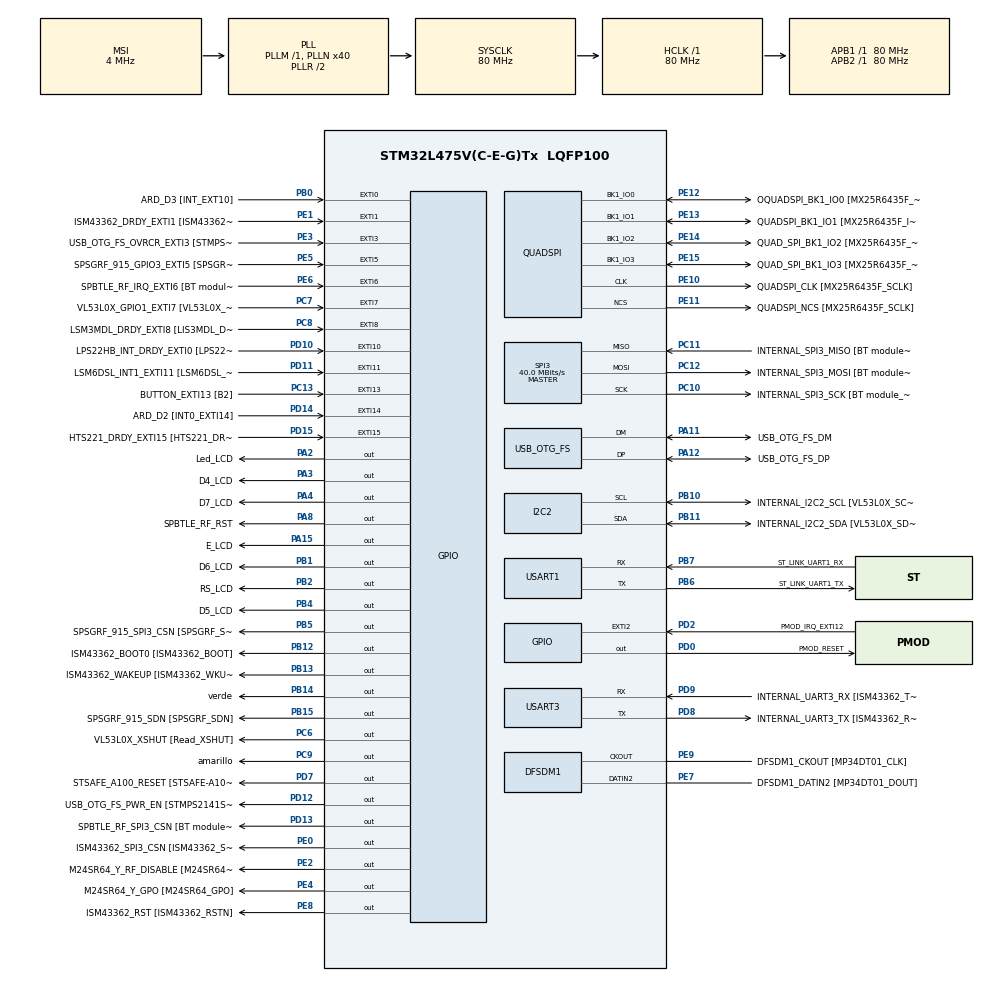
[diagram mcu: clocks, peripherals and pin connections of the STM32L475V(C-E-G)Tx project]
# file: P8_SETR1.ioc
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FREERTOS.BinarySemaphores01=myLCD,Dynamic,NULL,Available
FREERTOS.Tasks01=defaultTask,24,128,StartDefaultTask,Default,NULL,Dynamic,NULL,NULL;led_verde,24,128,Start_led_verde,Default,NULL,Dynamic,NULL,NULL;led_amarillo,24,128,Start_led_amarillo,Default,NULL,Dynamic,NULL,NULL;lcd_A,24,128,Start_lcd_A,Default,NULL,Dynamic,NULL,NULL;lcd_B,24,128,Start_lcd_B,Default,NULL,Dynamic,NULL,NULL
FREERTOS.configTOTAL_HEAP_SIZE=4000
Mcu.Family=STM32L4
Mcu.Name=STM32L475V(C-E-G)Tx
Mcu.Package=LQFP100
NVIC.EXTI15_10_IRQn=true\:5\:0\:false\:false\:true\:true\:true\:true\:true
NVIC.EXTI9_5_IRQn=true\:5\:0\:false\:false\:true\:true\:true\:true\:true
NVIC.PriorityGroup=NVIC_PRIORITYGROUP_4
PA0.GPIO_Label=ARD_D1 [UART4_TX]
PA0.Signal=UART4_TX
PA1.GPIO_Label=ARD_D0 [UART4_RX]
PA1.Signal=UART4_RX
PA10.GPIO_Label=USB_OTG_FS_ID
PA10.Signal=USB_OTG_FS_ID
PA11.GPIO_Label=USB_OTG_FS_DM
PA11.Mode=Device_Only
PA11.Signal=USB_OTG_FS_DM
PA12.GPIO_Label=USB_OTG_FS_DP
PA12.Mode=Device_Only
PA12.Signal=USB_OTG_FS_DP
PA13\ (JTMS-SWDIO).GPIO_Label=SYS_JTMS_SWDIO
PA13\ (JTMS-SWDIO).Mode=Serial_Wire
PA13\ (JTMS-SWDIO).Signal=SYS_JTMS-SWDIO
PA14\ (JTCK-SWCLK).GPIO_Label=SYS_JTCK_SWCLK
PA14\ (JTCK-SWCLK).Mode=Serial_Wire
PA14\ (JTCK-SWCLK).Signal=SYS_JTCK-SWCLK
PA15\ (JTDI).GPIO_Label=E_LCD
PA15\ (JTDI).Signal=GPIO_Output
PA2.GPIO_Label=Led_LCD
PA2.Signal=GPIO_Output
PA3.GPIO_Label=D4_LCD
PA3.Signal=GPIO_Output
PA4.GPIO_Label=D7_LCD
PA4.Signal=GPIO_Output
PA5.GPIO_Label=ARD_D13 [SPI1_SCK]
PA5.Signal=SPI1_SCK
PA6.GPIO_Label=ARD_D12 [SPI1_MISO]
PA6.Signal=SPI1_MISO
PA7.GPIO_Label=ARD_D11 [SPI1_MOSI]
PA7.Signal=SPI1_MOSI
PA8.GPIO_Label=SPBTLE_RF_RST
PA8.Signal=GPIO_Output
PA9.GPIO_Label=USB_OTG_FS_VBUS [STMPS2141STR_OUT]
PA9.Signal=USB_OTG_FS_VBUS
PB0.GPIO_Label=ARD_D3 [INT_EXT10]
PB0.Signal=GPXTI0
PB1.GPIO_Label=D6_LCD
PB1.Signal=GPIO_Output
PB10.GPIO_Label=INTERNAL_I2C2_SCL [VL53L0X_SCL]
PB10.GPIO_Pu=GPIO_PULLUP
PB10.Mode=I2C
PB10.Signal=I2C2_SCL
PB11.GPIO_Label=INTERNAL_I2C2_SDA [VL53L0X_SDA]
PB11.GPIO_Pu=GPIO_PULLUP
PB11.Mode=I2C
PB11.Signal=I2C2_SDA
PB12.GPIO_Label=ISM43362_BOOT0 [ISM43362_BOOT]
PB12.Signal=GPIO_Output
PB13.GPIO_Label=ISM43362_WAKEUP [ISM43362_WKUP]
PB13.Signal=GPIO_Output
PB14.GPIO_Label=verde
PB14.Signal=GPIO_Output
PB15.GPIO_Label=SPSGRF_915_SDN [SPSGRF_SDN]
PB15.Signal=GPIO_Output
PB2.GPIO_Label=RS_LCD
PB2.Signal=GPIO_Output
PB3\ (JTDO-TRACESWO).GPIO_Label=SYS_JTD0_SWO
PB3\ (JTDO-TRACESWO).Signal=SYS_JTDO-SWO
PB4\ (NJTRST).GPIO_Label=D5_LCD
PB4\ (NJTRST).Signal=GPIO_Output
PB5.GPIO_Label=SPSGRF_915_SPI3_CSN [SPSGRF_SPI_CS]
PB5.PinState=GPIO_PIN_SET
PB5.Signal=GPIO_Output
PB6.GPIO_Label=ST_LINK_UART1_TX
PB6.Mode=Asynchronous
PB6.Signal=USART1_TX
PB7.GPIO_Label=ST_LINK_UART1_RX
PB7.Mode=Asynchronous
PB7.Signal=USART1_RX
PB8.GPIO_Label=ARD_D15 [I2C1_SCL]
PB8.Signal=I2C1_SCL
PB9.GPIO_Label=ARD_D14 [I2C1_SDA]
PB9.Signal=I2C1_SDA
PC0.GPIO_Label=ARD_A5 [ADC]
PC0.Signal=ADCx_IN1
PC1.GPIO_Label=ARD_A4 [ADC]
PC1.Signal=ADCx_IN2
PC10.GPIO_Label=INTERNAL_SPI3_SCK [BT module_SPI_SCLK] [ISM43362_SCK]
PC10.Mode=Full_Duplex_Master
PC10.Signal=SPI3_SCK
PC11.GPIO_Label=INTERNAL_SPI3_MISO [BT module_SPI_MISO] [ISM43362_MISO]
PC11.Mode=Full_Duplex_Master
PC11.Signal=SPI3_MISO
PC12.GPIO_Label=INTERNAL_SPI3_MOSI [BT module_SPI_MOSI] [ISM43362_MOSI]
PC12.Mode=Full_Duplex_Master
PC12.Signal=SPI3_MOSI
PC13.GPIO_Label=BUTTON_EXTI13 [B2]
PC13.GPIO_ModeDefaultEXTI=GPIO_MODE_IT_FALLING
PC13.Signal=GPXTI13
PC14-OSC32_IN\ (PC14).Mode=LSE-External-Oscillator
PC14-OSC32_IN\ (PC14).Signal=RCC_OSC32_IN
PC15-OSC32_OUT\ (PC15).Mode=LSE-External-Oscillator
PC15-OSC32_OUT\ (PC15).Signal=RCC_OSC32_OUT
PC2.GPIO_Label=ARD_A3 [ADC]
PC2.Signal=ADCx_IN3
PC3.GPIO_Label=ARD_A2 [ADC]
PC3.Signal=ADCx_IN4
PC4.GPIO_Label=ARD_A1 [ADC]
PC4.Signal=ADCx_IN13
PC5.GPIO_Label=ARD_A0 [ADC]
PC5.Signal=ADCx_IN14
PC6.GPIO_Label=VL53L0X_XSHUT [Read_XSHUT]
PC6.Signal=GPIO_Output
PC7.GPIO_Label=VL53L0X_GPIO1_EXTI7 [VL53L0X_GPIO1]
PC7.Signal=GPXTI7
PC8.GPIO_Label=LSM3MDL_DRDY_EXTI8 [LIS3MDL_DRDY]
PC8.Signal=GPXTI8
PC9.GPIO_Label=amarillo
PC9.Signal=GPIO_Output
PD0.GPIO_Label=PMOD_RESET
PD0.Signal=GPIO_Output
PD1.GPIO_Label=PMOD_SPI2_SCK
PD1.Signal=SPI2_SCK
PD10.GPIO_Label=LPS22HB_INT_DRDY_EXTI0 [LPS22HB_INT_DRDY] 
PD10.Signal=GPXTI10
PD11.GPIO_Label=LSM6DSL_INT1_EXTI11 [LSM6DSL_INT1]
PD11.Signal=GPXTI11
PD12.GPIO_Label=USB_OTG_FS_PWR_EN [STMPS2141STR_EN]
PD12.Signal=GPIO_Output
PD13.GPIO_Label=SPBTLE_RF_SPI3_CSN [BT module_SPI_CS]
PD13.PinState=GPIO_PIN_SET
PD13.Signal=GPIO_Output
PD14.GPIO_Label=ARD_D2 [INT0_EXTI14]
PD14.Signal=GPXTI14
PD15.GPIO_Label=HTS221_DRDY_EXTI15 [HTS221_DRDY]
PD15.Signal=GPXTI15
PD2.GPIO_Label=PMOD_IRQ_EXTI12
PD2.Signal=GPXTI2
PD3.GPIO_Label=PMOD_UART2_CTS
PD3.Signal=USART2_CTS
PD4.GPIO_Label=PMOD_UART2_RTS
PD4.Signal=USART2_RTS
PD5.GPIO_Label=PMOD_UART2_TX
PD5.Signal=USART2_TX
PD6.GPIO_Label=PMOD_UART2_RX
PD6.Signal=USART2_RX
PD7.GPIO_Label=STSAFE_A100_RESET [STSAFE-A100_RESET]
PD7.Signal=GPIO_Output
PD8.GPIO_Label=INTERNAL_UART3_TX [ISM43362_RX]
PD8.Mode=Asynchronous
PD8.Signal=USART3_TX
PD9.GPIO_Label=INTERNAL_UART3_RX [ISM43362_TX]
PD9.Mode=Asynchronous
PD9.Signal=USART3_RX
PE0.GPIO_Label=ISM43362_SPI3_CSN [ISM43362_SSN]
PE0.PinState=GPIO_PIN_SET
PE0.Signal=GPIO_Output
PE1.GPIO_Label=ISM43362_DRDY_EXTI1 [ISM43362_DATARDY]
PE1.Signal=GPXTI1
PE10.GPIO_Label=QUADSPI_CLK [MX25R6435F_SCLK]
PE10.Mode=Single Bank
PE10.Signal=QUADSPI_CLK
PE11.GPIO_Label=QUADSPI_NCS [MX25R6435F_SCLK]
PE11.Mode=Single Bank
PE11.Signal=QUADSPI_NCS
PE12.GPIO_Label=OQUADSPI_BK1_IO0 [MX25R6435F_IO0]
PE12.Mode=Single Bank
PE12.Signal=QUADSPI_BK1_IO0
PE13.GPIO_Label=QUADSPI_BK1_IO1 [MX25R6435F_IO1]
PE13.Mode=Single Bank
PE13.Signal=QUADSPI_BK1_IO1
PE14.GPIO_Label=QUAD_SPI_BK1_IO2 [MX25R6435F_IO2]
PE14.Mode=Single Bank
PE14.Signal=QUADSPI_BK1_IO2
PE15.GPIO_Label=QUAD_SPI_BK1_IO3 [MX25R6435F_IO3]
PE15.Mode=Single Bank
PE15.Signal=QUADSPI_BK1_IO3
PE2.GPIO_Label=M24SR64_Y_RF_DISABLE [M24SR64_RFDIS]
PE2.Signal=GPIO_Output
PE3.GPIO_Label=USB_OTG_FS_OVRCR_EXTI3 [STMPS2141STR_FAULT]
PE3.Signal=GPXTI3
PE4.GPIO_Label=M24SR64_Y_GPO [M24SR64_GPO]
PE4.Signal=GPIO_Output
PE5.GPIO_Label=SPSGRF_915_GPIO3_EXTI5 [SPSGRF_GPIO_3]
PE5.Signal=GPXTI5
PE6.GPIO_Label=SPBTLE_RF_IRQ_EXTI6 [BT module_SPI_IRQ]
PE6.Signal=GPXTI6
PE7.GPIO_Label=DFSDM1_DATIN2 [MP34DT01_DOUT]
PE7.Signal=S_DATAIN2DFSDM1
PE8.GPIO_Label=ISM43362_RST [ISM43362_RSTN]
PE8.Signal=GPIO_Output
PE9.GPIO_Label=DFSDM1_CKOUT [MP34DT01_CLK]
PE9.Signal=S_CKOUTDFSDM1
ProjectManager.HeapSize=0x200
ProjectManager.StackSize=0x400
ProjectManager.TargetToolchain=STM32CubeIDE
QUADSPI.ClockPrescaler=2
QUADSPI.FifoThreshold=4
QUADSPI.FlashSize=23
QUADSPI.SampleShifting=QSPI_SAMPLE_SHIFTING_HALFCYCLE
RCC.ADCFreq_Value=48000000
RCC.AHBFreq_Value=80000000
RCC.APB1Freq_Value=80000000
RCC.APB1TimFreq_Value=80000000
RCC.APB2Freq_Value=80000000
RCC.APB2TimFreq_Value=80000000
RCC.CortexFreq_Value=80000000
RCC.HCLKFreq_Value=80000000
RCC.HSE_VALUE=8000000
RCC.HSI_VALUE=16000000
RCC.MSI_VALUE=4000000
RCC.PLLN=40
RCC.PLLSAI1N=24
RCC.SYSCLKFreq_VALUE=80000000
RCC.SYSCLKSource=RCC_SYSCLKSOURCE_PLLCLK
RCC.USBFreq_Value=48000000
RCC.VCOOutputFreq_Value=160000000
SH.ADCx_IN1.0=ADC1_IN1
SH.ADCx_IN13.0=ADC1_IN13
SH.ADCx_IN14.0=ADC1_IN14
SH.ADCx_IN2.0=ADC1_IN2
SH.ADCx_IN3.0=ADC1_IN3
SH.ADCx_IN4.0=ADC1_IN4
SH.S_CKOUTDFSDM1.0=DFSDM1_CKOUT,CKOUT
SH.S_CKOUTDFSDM1.1=DFSDM1_CKOUT,PDM_SPI_Input_from_ch12_and_Internal_Clock
SH.S_DATAIN2DFSDM1.0=DFSDM1_DATIN2,PDM_SPI_Input_from_ch12_and_Internal_Clock
SPI3.CalculateBaudRate=40.0 MBits/s
SPI3.Direction=SPI_DIRECTION_2LINES
SPI3.Mode=SPI_MODE_MASTER
SPI3.VirtualType=VM_MASTER
USART1.VirtualMode-Asynchronous=VM_ASYNC
USART3.VirtualMode-Asynchronous=VM_ASYNC
USB_OTG_FS.VirtualMode=Device_Only
VP_FREERTOS_VS_CMSIS_V2.Mode=CMSIS_V2
board=B-L475E-IOT01A1

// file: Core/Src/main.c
/* USER CODE BEGIN Header */
/**
  ******************************************************************************
  * @file           : main.c
  * @brief          : Main program body
  ******************************************************************************
  * @attention
  *
  * Copyright (c) 2025 STMicroelectronics.
  * All rights reserved.
  *
  * This software is licensed under terms that can be found in the LICENSE file
  * in the root directory of this software component.
  * If no LICENSE file comes with this software, it is provided AS-IS.
  *
  ******************************************************************************
  */
/* USER CODE END Header */
#include "main.h"
#include "cmsis_os.h"

/* USER CODE BEGIN Includes */
#include "hd44780.h"
/* USER CODE END Includes */

DFSDM_Channel_HandleTypeDef hdfsdm1_channel1;

I2C_HandleTypeDef hi2c2;

QSPI_HandleTypeDef hqspi;

SPI_HandleTypeDef hspi3;

UART_HandleTypeDef huart1;
UART_HandleTypeDef huart3;

PCD_HandleTypeDef hpcd_USB_OTG_FS;

/* Definitions for defaultTask */
osThreadId_t defaultTaskHandle;
const osThreadAttr_t defaultTask_attributes = {
  .name = "defaultTask",
  .stack_size = 128 * 4,
  .priority = (osPriority_t) osPriorityNormal,
};
/* Definitions for led_verde */
osThreadId_t led_verdeHandle;
const osThreadAttr_t led_verde_attributes = {
  .name = "led_verde",
  .stack_size = 128 * 4,
  .priority = (osPriority_t) osPriorityNormal,
};
/* Definitions for led_amarillo */
osThreadId_t led_amarilloHandle;
const osThreadAttr_t led_amarillo_attributes = {
  .name = "led_amarillo",
  .stack_size = 128 * 4,
  .priority = (osPriority_t) osPriorityNormal,
};
/* Definitions for lcd_A */
osThreadId_t lcd_AHandle;
const osThreadAttr_t lcd_A_attributes = {
  .name = "lcd_A",
  .stack_size = 128 * 4,
  .priority = (osPriority_t) osPriorityNormal,
};
/* Definitions for lcd_B */
osThreadId_t lcd_BHandle;
const osThreadAttr_t lcd_B_attributes = {
  .name = "lcd_B",
  .stack_size = 128 * 4,
  .priority = (osPriority_t) osPriorityNormal,
};
/* Definitions for myLCD */
osSemaphoreId_t myLCDHandle;
const osSemaphoreAttr_t myLCD_attributes = {
  .name = "myLCD"
};

void SystemClock_Config(void);
static void MX_GPIO_Init(void);
static void MX_DFSDM1_Init(void);
static void MX_I2C2_Init(void);
static void MX_QUADSPI_Init(void);
static void MX_SPI3_Init(void);
static void MX_USART1_UART_Init(void);
static void MX_USART3_UART_Init(void);
static void MX_USB_OTG_FS_PCD_Init(void);
void StartDefaultTask(void *argument);
void Start_led_verde(void *argument);
void Start_led_amarillo(void *argument);
void Start_lcd_A(void *argument);
void Start_lcd_B(void *argument);

int main(void)
{

  /* MCU Configuration--------------------------------------------------------*/

  /* Reset of all peripherals, Initializes the Flash interface and the Systick. */
  HAL_Init();

  /* Configure the system clock */
  SystemClock_Config();

  /* Initialize all configured peripherals */
  MX_GPIO_Init();
  MX_DFSDM1_Init();
  MX_I2C2_Init();
  MX_QUADSPI_Init();
  MX_SPI3_Init();
  MX_USART1_UART_Init();
  MX_USART3_UART_Init();
  MX_USB_OTG_FS_PCD_Init();

  /* Init scheduler */
  osKernelInitialize();

  /* Create the semaphores(s) */
  /* creation of myLCD */
  myLCDHandle = osSemaphoreNew(1, 1, &myLCD_attributes);

  /* Create the thread(s) */
  /* creation of defaultTask */
  defaultTaskHandle = osThreadNew(StartDefaultTask, NULL, &defaultTask_attributes);

  /* creation of led_verde */
  led_verdeHandle = osThreadNew(Start_led_verde, NULL, &led_verde_attributes);

  /* creation of led_amarillo */
  led_amarilloHandle = osThreadNew(Start_led_amarillo, NULL, &led_amarillo_attributes);

  /* creation of lcd_A */
  lcd_AHandle = osThreadNew(Start_lcd_A, NULL, &lcd_A_attributes);

  /* creation of lcd_B */
  lcd_BHandle = osThreadNew(Start_lcd_B, NULL, &lcd_B_attributes);

  /* Start scheduler */
  osKernelStart();

  /* We should never get here as control is now taken by the scheduler */

  /* Infinite loop */
  while (1)
  {

  }
}

void SystemClock_Config(void)
{
  RCC_OscInitTypeDef RCC_OscInitStruct = {0};
  RCC_ClkInitTypeDef RCC_ClkInitStruct = {0};

  /** Configure the main internal regulator output voltage
  */
  if (HAL_PWREx_ControlVoltageScaling(PWR_REGULATOR_VOLTAGE_SCALE1) != HAL_OK)
  {
    Error_Handler();
  }

  /** Configure LSE Drive Capability
  */
  HAL_PWR_EnableBkUpAccess();
  __HAL_RCC_LSEDRIVE_CONFIG(RCC_LSEDRIVE_LOW);

  /** Initializes the RCC Oscillators according to the specified parameters
  * in the RCC_OscInitTypeDef structure.
  */
  RCC_OscInitStruct.OscillatorType = RCC_OSCILLATORTYPE_LSE|RCC_OSCILLATORTYPE_MSI;
  RCC_OscInitStruct.LSEState = RCC_LSE_ON;
  RCC_OscInitStruct.MSIState = RCC_MSI_ON;
  RCC_OscInitStruct.MSICalibrationValue = 0;
  RCC_OscInitStruct.MSIClockRange = RCC_MSIRANGE_6;
  RCC_OscInitStruct.PLL.PLLState = RCC_PLL_ON;
  RCC_OscInitStruct.PLL.PLLSource = RCC_PLLSOURCE_MSI;
  RCC_OscInitStruct.PLL.PLLM = 1;
  RCC_OscInitStruct.PLL.PLLN = 40;
  RCC_OscInitStruct.PLL.PLLP = RCC_PLLP_DIV7;
  RCC_OscInitStruct.PLL.PLLQ = RCC_PLLQ_DIV2;
  RCC_OscInitStruct.PLL.PLLR = RCC_PLLR_DIV2;
  if (HAL_RCC_OscConfig(&RCC_OscInitStruct) != HAL_OK)
  {
    Error_Handler();
  }

  /** Initializes the CPU, AHB and APB buses clocks
  */
  RCC_ClkInitStruct.ClockType = RCC_CLOCKTYPE_HCLK|RCC_CLOCKTYPE_SYSCLK
                              |RCC_CLOCKTYPE_PCLK1|RCC_CLOCKTYPE_PCLK2;
  RCC_ClkInitStruct.SYSCLKSource = RCC_SYSCLKSOURCE_PLLCLK;
  RCC_ClkInitStruct.AHBCLKDivider = RCC_SYSCLK_DIV1;
  RCC_ClkInitStruct.APB1CLKDivider = RCC_HCLK_DIV1;
  RCC_ClkInitStruct.APB2CLKDivider = RCC_HCLK_DIV1;

  if (HAL_RCC_ClockConfig(&RCC_ClkInitStruct, FLASH_LATENCY_4) != HAL_OK)
  {
    Error_Handler();
  }

  /** Enable MSI Auto calibration
  */
  HAL_RCCEx_EnableMSIPLLMode();
}

static void MX_DFSDM1_Init(void)
{

  hdfsdm1_channel1.Instance = DFSDM1_Channel1;
  hdfsdm1_channel1.Init.OutputClock.Activation = ENABLE;
  hdfsdm1_channel1.Init.OutputClock.Selection = DFSDM_CHANNEL_OUTPUT_CLOCK_SYSTEM;
  hdfsdm1_channel1.Init.OutputClock.Divider = 2;
  hdfsdm1_channel1.Init.Input.Multiplexer = DFSDM_CHANNEL_EXTERNAL_INPUTS;
  hdfsdm1_channel1.Init.Input.DataPacking = DFSDM_CHANNEL_STANDARD_MODE;
  hdfsdm1_channel1.Init.Input.Pins = DFSDM_CHANNEL_FOLLOWING_CHANNEL_PINS;
  hdfsdm1_channel1.Init.SerialInterface.Type = DFSDM_CHANNEL_SPI_RISING;
  hdfsdm1_channel1.Init.SerialInterface.SpiClock = DFSDM_CHANNEL_SPI_CLOCK_INTERNAL;
  hdfsdm1_channel1.Init.Awd.FilterOrder = DFSDM_CHANNEL_FASTSINC_ORDER;
  hdfsdm1_channel1.Init.Awd.Oversampling = 1;
  hdfsdm1_channel1.Init.Offset = 0;
  hdfsdm1_channel1.Init.RightBitShift = 0x00;
  if (HAL_DFSDM_ChannelInit(&hdfsdm1_channel1) != HAL_OK)
  {
    Error_Handler();
  }

}

static void MX_I2C2_Init(void)
{

  hi2c2.Instance = I2C2;
  hi2c2.Init.Timing = 0x00000E14;
  hi2c2.Init.OwnAddress1 = 0;
  hi2c2.Init.AddressingMode = I2C_ADDRESSINGMODE_7BIT;
  hi2c2.Init.DualAddressMode = I2C_DUALADDRESS_DISABLE;
  hi2c2.Init.OwnAddress2 = 0;
  hi2c2.Init.OwnAddress2Masks = I2C_OA2_NOMASK;
  hi2c2.Init.GeneralCallMode = I2C_GENERALCALL_DISABLE;
  hi2c2.Init.NoStretchMode = I2C_NOSTRETCH_DISABLE;
  if (HAL_I2C_Init(&hi2c2) != HAL_OK)
  {
    Error_Handler();
  }

  /** Configure Analogue filter
  */
  if (HAL_I2CEx_ConfigAnalogFilter(&hi2c2, I2C_ANALOGFILTER_ENABLE) != HAL_OK)
  {
    Error_Handler();
  }

  /** Configure Digital filter
  */
  if (HAL_I2CEx_ConfigDigitalFilter(&hi2c2, 0) != HAL_OK)
  {
    Error_Handler();
  }

}

static void MX_QUADSPI_Init(void)
{

  /* QUADSPI parameter configuration*/
  hqspi.Instance = QUADSPI;
  hqspi.Init.ClockPrescaler = 2;
  hqspi.Init.FifoThreshold = 4;
  hqspi.Init.SampleShifting = QSPI_SAMPLE_SHIFTING_HALFCYCLE;
  hqspi.Init.FlashSize = 23;
  hqspi.Init.ChipSelectHighTime = QSPI_CS_HIGH_TIME_1_CYCLE;
  hqspi.Init.ClockMode = QSPI_CLOCK_MODE_0;
  if (HAL_QSPI_Init(&hqspi) != HAL_OK)
  {
    Error_Handler();
  }

}

static void MX_SPI3_Init(void)
{

  /* SPI3 parameter configuration*/
  hspi3.Instance = SPI3;
  hspi3.Init.Mode = SPI_MODE_MASTER;
  hspi3.Init.Direction = SPI_DIRECTION_2LINES;
  hspi3.Init.DataSize = SPI_DATASIZE_4BIT;
  hspi3.Init.CLKPolarity = SPI_POLARITY_LOW;
  hspi3.Init.CLKPhase = SPI_PHASE_1EDGE;
  hspi3.Init.NSS = SPI_NSS_SOFT;
  hspi3.Init.BaudRatePrescaler = SPI_BAUDRATEPRESCALER_2;
  hspi3.Init.FirstBit = SPI_FIRSTBIT_MSB;
  hspi3.Init.TIMode = SPI_TIMODE_DISABLE;
  hspi3.Init.CRCCalculation = SPI_CRCCALCULATION_DISABLE;
  hspi3.Init.CRCPolynomial = 7;
  hspi3.Init.CRCLength = SPI_CRC_LENGTH_DATASIZE;
  hspi3.Init.NSSPMode = SPI_NSS_PULSE_ENABLE;
  if (HAL_SPI_Init(&hspi3) != HAL_OK)
  {
    Error_Handler();
  }

}

static void MX_USART1_UART_Init(void)
{

  huart1.Instance = USART1;
  huart1.Init.BaudRate = 115200;
  huart1.Init.WordLength = UART_WORDLENGTH_8B;
  huart1.Init.StopBits = UART_STOPBITS_1;
  huart1.Init.Parity = UART_PARITY_NONE;
  huart1.Init.Mode = UART_MODE_TX_RX;
  huart1.Init.HwFlowCtl = UART_HWCONTROL_NONE;
  huart1.Init.OverSampling = UART_OVERSAMPLING_16;
  huart1.Init.OneBitSampling = UART_ONE_BIT_SAMPLE_DISABLE;
  huart1.AdvancedInit.AdvFeatureInit = UART_ADVFEATURE_NO_INIT;
  if (HAL_UART_Init(&huart1) != HAL_OK)
  {
    Error_Handler();
  }

}

static void MX_USART3_UART_Init(void)
{

  huart3.Instance = USART3;
  huart3.Init.BaudRate = 115200;
  huart3.Init.WordLength = UART_WORDLENGTH_8B;
  huart3.Init.StopBits = UART_STOPBITS_1;
  huart3.Init.Parity = UART_PARITY_NONE;
  huart3.Init.Mode = UART_MODE_TX_RX;
  huart3.Init.HwFlowCtl = UART_HWCONTROL_NONE;
  huart3.Init.OverSampling = UART_OVERSAMPLING_16;
  huart3.Init.OneBitSampling = UART_ONE_BIT_SAMPLE_DISABLE;
  huart3.AdvancedInit.AdvFeatureInit = UART_ADVFEATURE_NO_INIT;
  if (HAL_UART_Init(&huart3) != HAL_OK)
  {
    Error_Handler();
  }

}

static void MX_USB_OTG_FS_PCD_Init(void)
{

  hpcd_USB_OTG_FS.Instance = USB_OTG_FS;
  hpcd_USB_OTG_FS.Init.dev_endpoints = 6;
  hpcd_USB_OTG_FS.Init.speed = PCD_SPEED_FULL;
  hpcd_USB_OTG_FS.Init.phy_itface = PCD_PHY_EMBEDDED;
  hpcd_USB_OTG_FS.Init.Sof_enable = DISABLE;
  hpcd_USB_OTG_FS.Init.low_power_enable = DISABLE;
  hpcd_USB_OTG_FS.Init.lpm_enable = DISABLE;
  hpcd_USB_OTG_FS.Init.battery_charging_enable = DISABLE;
  hpcd_USB_OTG_FS.Init.use_dedicated_ep1 = DISABLE;
  hpcd_USB_OTG_FS.Init.vbus_sensing_enable = DISABLE;
  if (HAL_PCD_Init(&hpcd_USB_OTG_FS) != HAL_OK)
  {
    Error_Handler();
  }

}

static void MX_GPIO_Init(void)
{
  GPIO_InitTypeDef GPIO_InitStruct = {0};

  /* GPIO Ports Clock Enable */
  __HAL_RCC_GPIOE_CLK_ENABLE();
  __HAL_RCC_GPIOC_CLK_ENABLE();
  __HAL_RCC_GPIOA_CLK_ENABLE();
  __HAL_RCC_GPIOB_CLK_ENABLE();
  __HAL_RCC_GPIOD_CLK_ENABLE();

  /*Configure GPIO pin Output Level */
  HAL_GPIO_WritePin(GPIOE, M24SR64_Y_RF_DISABLE_Pin|M24SR64_Y_GPO_Pin|ISM43362_RST_Pin, GPIO_PIN_RESET);

  /*Configure GPIO pin Output Level */
  HAL_GPIO_WritePin(GPIOA, Led_LCD_Pin|D4_LCD_Pin|D7_LCD_Pin|SPBTLE_RF_RST_Pin
                          |E_LCD_Pin, GPIO_PIN_RESET);

  /*Configure GPIO pin Output Level */
  HAL_GPIO_WritePin(GPIOB, D6_LCD_Pin|RS_LCD_Pin|ISM43362_BOOT0_Pin|ISM43362_WAKEUP_Pin
                          |verde_Pin|SPSGRF_915_SDN_Pin|D5_LCD_Pin, GPIO_PIN_RESET);

  /*Configure GPIO pin Output Level */
  HAL_GPIO_WritePin(GPIOD, USB_OTG_FS_PWR_EN_Pin|PMOD_RESET_Pin|STSAFE_A100_RESET_Pin, GPIO_PIN_RESET);

  /*Configure GPIO pin Output Level */
  HAL_GPIO_WritePin(SPBTLE_RF_SPI3_CSN_GPIO_Port, SPBTLE_RF_SPI3_CSN_Pin, GPIO_PIN_SET);

  /*Configure GPIO pin Output Level */
  HAL_GPIO_WritePin(GPIOC, VL53L0X_XSHUT_Pin|amarillo_Pin, GPIO_PIN_RESET);

  /*Configure GPIO pin Output Level */
  HAL_GPIO_WritePin(SPSGRF_915_SPI3_CSN_GPIO_Port, SPSGRF_915_SPI3_CSN_Pin, GPIO_PIN_SET);

  /*Configure GPIO pin Output Level */
  HAL_GPIO_WritePin(ISM43362_SPI3_CSN_GPIO_Port, ISM43362_SPI3_CSN_Pin, GPIO_PIN_SET);

  /*Configure GPIO pins : M24SR64_Y_RF_DISABLE_Pin M24SR64_Y_GPO_Pin ISM43362_RST_Pin ISM43362_SPI3_CSN_Pin */
  GPIO_InitStruct.Pin = M24SR64_Y_RF_DISABLE_Pin|M24SR64_Y_GPO_Pin|ISM43362_RST_Pin|ISM43362_SPI3_CSN_Pin;
  GPIO_InitStruct.Mode = GPIO_MODE_OUTPUT_PP;
  GPIO_InitStruct.Pull = GPIO_NOPULL;
  GPIO_InitStruct.Speed = GPIO_SPEED_FREQ_LOW;
  HAL_GPIO_Init(GPIOE, &GPIO_InitStruct);

  /*Configure GPIO pins : USB_OTG_FS_OVRCR_EXTI3_Pin SPSGRF_915_GPIO3_EXTI5_Pin SPBTLE_RF_IRQ_EXTI6_Pin ISM43362_DRDY_EXTI1_Pin */
  GPIO_InitStruct.Pin = USB_OTG_FS_OVRCR_EXTI3_Pin|SPSGRF_915_GPIO3_EXTI5_Pin|SPBTLE_RF_IRQ_EXTI6_Pin|ISM43362_DRDY_EXTI1_Pin;
  GPIO_InitStruct.Mode = GPIO_MODE_IT_RISING;
  GPIO_InitStruct.Pull = GPIO_NOPULL;
  HAL_GPIO_Init(GPIOE, &GPIO_InitStruct);

  /*Configure GPIO pin : BUTTON_EXTI13_Pin */
  GPIO_InitStruct.Pin = BUTTON_EXTI13_Pin;
  GPIO_InitStruct.Mode = GPIO_MODE_IT_FALLING;
  GPIO_InitStruct.Pull = GPIO_NOPULL;
  HAL_GPIO_Init(BUTTON_EXTI13_GPIO_Port, &GPIO_InitStruct);

  /*Configure GPIO pins : ARD_A5_Pin ARD_A4_Pin ARD_A3_Pin ARD_A2_Pin
                           ARD_A1_Pin ARD_A0_Pin */
  GPIO_InitStruct.Pin = ARD_A5_Pin|ARD_A4_Pin|ARD_A3_Pin|ARD_A2_Pin
                          |ARD_A1_Pin|ARD_A0_Pin;
  GPIO_InitStruct.Mode = GPIO_MODE_ANALOG_ADC_CONTROL;
  GPIO_InitStruct.Pull = GPIO_NOPULL;
  HAL_GPIO_Init(GPIOC, &GPIO_InitStruct);

  /*Configure GPIO pins : ARD_D1_Pin ARD_D0_Pin */
  GPIO_InitStruct.Pin = ARD_D1_Pin|ARD_D0_Pin;
  GPIO_InitStruct.Mode = GPIO_MODE_AF_PP;
  GPIO_InitStruct.Pull = GPIO_NOPULL;
  GPIO_InitStruct.Speed = GPIO_SPEED_FREQ_VERY_HIGH;
  GPIO_InitStruct.Alternate = GPIO_AF8_UART4;
  HAL_GPIO_Init(GPIOA, &GPIO_InitStruct);

  /*Configure GPIO pins : Led_LCD_Pin D4_LCD_Pin D7_LCD_Pin SPBTLE_RF_RST_Pin
                           E_LCD_Pin */
  GPIO_InitStruct.Pin = Led_LCD_Pin|D4_LCD_Pin|D7_LCD_Pin|SPBTLE_RF_RST_Pin
                          |E_LCD_Pin;
  GPIO_InitStruct.Mode = GPIO_MODE_OUTPUT_PP;
  GPIO_InitStruct.Pull = GPIO_NOPULL;
  GPIO_InitStruct.Speed = GPIO_SPEED_FREQ_LOW;
  HAL_GPIO_Init(GPIOA, &GPIO_InitStruct);

  /*Configure GPIO pins : ARD_D13_Pin ARD_D12_Pin ARD_D11_Pin */
  GPIO_InitStruct.Pin = ARD_D13_Pin|ARD_D12_Pin|ARD_D11_Pin;
  GPIO_InitStruct.Mode = GPIO_MODE_AF_PP;
  GPIO_InitStruct.Pull = GPIO_NOPULL;
  GPIO_InitStruct.Speed = GPIO_SPEED_FREQ_VERY_HIGH;
  GPIO_InitStruct.Alternate = GPIO_AF5_SPI1;
  HAL_GPIO_Init(GPIOA, &GPIO_InitStruct);

  /*Configure GPIO pin : ARD_D3_Pin */
  GPIO_InitStruct.Pin = ARD_D3_Pin;
  GPIO_InitStruct.Mode = GPIO_MODE_IT_RISING;
  GPIO_InitStruct.Pull = GPIO_NOPULL;
  HAL_GPIO_Init(ARD_D3_GPIO_Port, &GPIO_InitStruct);

  /*Configure GPIO pins : D6_LCD_Pin RS_LCD_Pin ISM43362_BOOT0_Pin ISM43362_WAKEUP_Pin
                           verde_Pin SPSGRF_915_SDN_Pin D5_LCD_Pin SPSGRF_915_SPI3_CSN_Pin */
  GPIO_InitStruct.Pin = D6_LCD_Pin|RS_LCD_Pin|ISM43362_BOOT0_Pin|ISM43362_WAKEUP_Pin
                          |verde_Pin|SPSGRF_915_SDN_Pin|D5_LCD_Pin|SPSGRF_915_SPI3_CSN_Pin;
  GPIO_InitStruct.Mode = GPIO_MODE_OUTPUT_PP;
  GPIO_InitStruct.Pull = GPIO_NOPULL;
  GPIO_InitStruct.Speed = GPIO_SPEED_FREQ_LOW;
  HAL_GPIO_Init(GPIOB, &GPIO_InitStruct);

  /*Configure GPIO pins : LPS22HB_INT_DRDY_EXTI0_Pin LSM6DSL_INT1_EXTI11_Pin ARD_D2_Pin HTS221_DRDY_EXTI15_Pin
                           PMOD_IRQ_EXTI12_Pin */
  GPIO_InitStruct.Pin = LPS22HB_INT_DRDY_EXTI0_Pin|LSM6DSL_INT1_EXTI11_Pin|ARD_D2_Pin|HTS221_DRDY_EXTI15_Pin
                          |PMOD_IRQ_EXTI12_Pin;
  GPIO_InitStruct.Mode = GPIO_MODE_IT_RISING;
  GPIO_InitStruct.Pull = GPIO_NOPULL;
  HAL_GPIO_Init(GPIOD, &GPIO_InitStruct);

  /*Configure GPIO pins : USB_OTG_FS_PWR_EN_Pin SPBTLE_RF_SPI3_CSN_Pin PMOD_RESET_Pin STSAFE_A100_RESET_Pin */
  GPIO_InitStruct.Pin = USB_OTG_FS_PWR_EN_Pin|SPBTLE_RF_SPI3_CSN_Pin|PMOD_RESET_Pin|STSAFE_A100_RESET_Pin;
  GPIO_InitStruct.Mode = GPIO_MODE_OUTPUT_PP;
  GPIO_InitStruct.Pull = GPIO_NOPULL;
  GPIO_InitStruct.Speed = GPIO_SPEED_FREQ_LOW;
  HAL_GPIO_Init(GPIOD, &GPIO_InitStruct);

  /*Configure GPIO pins : VL53L0X_XSHUT_Pin amarillo_Pin */
  GPIO_InitStruct.Pin = VL53L0X_XSHUT_Pin|amarillo_Pin;
  GPIO_InitStruct.Mode = GPIO_MODE_OUTPUT_PP;
  GPIO_InitStruct.Pull = GPIO_NOPULL;
  GPIO_InitStruct.Speed = GPIO_SPEED_FREQ_LOW;
  HAL_GPIO_Init(GPIOC, &GPIO_InitStruct);

  /*Configure GPIO pins : VL53L0X_GPIO1_EXTI7_Pin LSM3MDL_DRDY_EXTI8_Pin */
  GPIO_InitStruct.Pin = VL53L0X_GPIO1_EXTI7_Pin|LSM3MDL_DRDY_EXTI8_Pin;
  GPIO_InitStruct.Mode = GPIO_MODE_IT_RISING;
  GPIO_InitStruct.Pull = GPIO_NOPULL;
  HAL_GPIO_Init(GPIOC, &GPIO_InitStruct);

  /*Configure GPIO pin : PMOD_SPI2_SCK_Pin */
  GPIO_InitStruct.Pin = PMOD_SPI2_SCK_Pin;
  GPIO_InitStruct.Mode = GPIO_MODE_AF_PP;
  GPIO_InitStruct.Pull = GPIO_NOPULL;
  GPIO_InitStruct.Speed = GPIO_SPEED_FREQ_VERY_HIGH;
  GPIO_InitStruct.Alternate = GPIO_AF5_SPI2;
  HAL_GPIO_Init(PMOD_SPI2_SCK_GPIO_Port, &GPIO_InitStruct);

  /*Configure GPIO pins : PMOD_UART2_CTS_Pin PMOD_UART2_RTS_Pin PMOD_UART2_TX_Pin PMOD_UART2_RX_Pin */
  GPIO_InitStruct.Pin = PMOD_UART2_CTS_Pin|PMOD_UART2_RTS_Pin|PMOD_UART2_TX_Pin|PMOD_UART2_RX_Pin;
  GPIO_InitStruct.Mode = GPIO_MODE_AF_PP;
  GPIO_InitStruct.Pull = GPIO_NOPULL;
  GPIO_InitStruct.Speed = GPIO_SPEED_FREQ_VERY_HIGH;
  GPIO_InitStruct.Alternate = GPIO_AF7_USART2;
  HAL_GPIO_Init(GPIOD, &GPIO_InitStruct);

  /*Configure GPIO pins : ARD_D15_Pin ARD_D14_Pin */
  GPIO_InitStruct.Pin = ARD_D15_Pin|ARD_D14_Pin;
  GPIO_InitStruct.Mode = GPIO_MODE_AF_OD;
  GPIO_InitStruct.Pull = GPIO_NOPULL;
  GPIO_InitStruct.Speed = GPIO_SPEED_FREQ_VERY_HIGH;
  GPIO_InitStruct.Alternate = GPIO_AF4_I2C1;
  HAL_GPIO_Init(GPIOB, &GPIO_InitStruct);

  /* EXTI interrupt init*/
  HAL_NVIC_SetPriority(EXTI9_5_IRQn, 5, 0);
  HAL_NVIC_EnableIRQ(EXTI9_5_IRQn);

  HAL_NVIC_SetPriority(EXTI15_10_IRQn, 5, 0);
  HAL_NVIC_EnableIRQ(EXTI15_10_IRQn);

}

/* USER CODE BEGIN 4 */
static uint8_t lcd_init = 0;
/* USER CODE END 4 */

void StartDefaultTask(void *argument)
{
  /* USER CODE BEGIN 5 */
  /* Infinite loop */
  osThreadExit();
  /* USER CODE END 5 */
}

void Start_led_verde(void *argument)
{
  /* USER CODE BEGIN Start_led_verde */
  /* Infinite loop */
  for(;;)
  {
    HAL_GPIO_WritePin(GPIOB, verde_Pin, GPIO_PIN_SET);
    osDelay(300);
    HAL_GPIO_WritePin(GPIOB, verde_Pin, GPIO_PIN_RESET);
	osDelay(300);
  }
  /* USER CODE END Start_led_verde */
}

void Start_led_amarillo(void *argument)
{
  /* USER CODE BEGIN Start_led_amarillo */
  /* Infinite loop */
  for(;;)
  {
	  HAL_GPIO_WritePin(GPIOC, amarillo_Pin, GPIO_PIN_SET);
	  osDelay(200);
	  HAL_GPIO_WritePin(GPIOC, amarillo_Pin, GPIO_PIN_RESET);
	  osDelay(200);
  }
  /* USER CODE END Start_led_amarillo */
}

void Start_lcd_A(void *argument)
{
  /* USER CODE BEGIN Start_lcd_A */
  /* Infinite loop */
  int counter = 0;
  for(;;)
  {
	  osSemaphoreAcquire(myLCDHandle, 0xFFFFFFFF);
	  if(!lcd_init)
	  {
	    lcd_reset();
	    lcd_display_settings(1,0,0);
	    lcd_clear();
	    lcd_init = 1;
	  }
	  moveToXY(0,0);
	  lcd_print("Tarea A: ");
	  writeIntegerToLCD(counter++);
	  osSemaphoreRelease(myLCDHandle);
	  osDelay(200);
  }
  /* USER CODE END Start_lcd_A */
}

void Start_lcd_B(void *argument)
{
  /* USER CODE BEGIN Start_lcd_B */
  /* Infinite loop */
  int counter = 0;
  for(;;)
  {
	  osSemaphoreAcquire(myLCDHandle, 0xFFFFFFFF);
	  if(!lcd_init)
	  {
		lcd_reset();
		lcd_display_settings(1,0,0);
		lcd_clear();
		lcd_init = 1;
	  }
	  moveToXY(1,0);
	  lcd_print("Tarea B: ");
	  writeIntegerToLCD(counter++);
	  osSemaphoreRelease(myLCDHandle);
	  osDelay(200);
  }
  /* USER CODE END Start_lcd_B */
}

void Error_Handler(void)
{
  __disable_irq();
  while (1)
  {
  }
}
